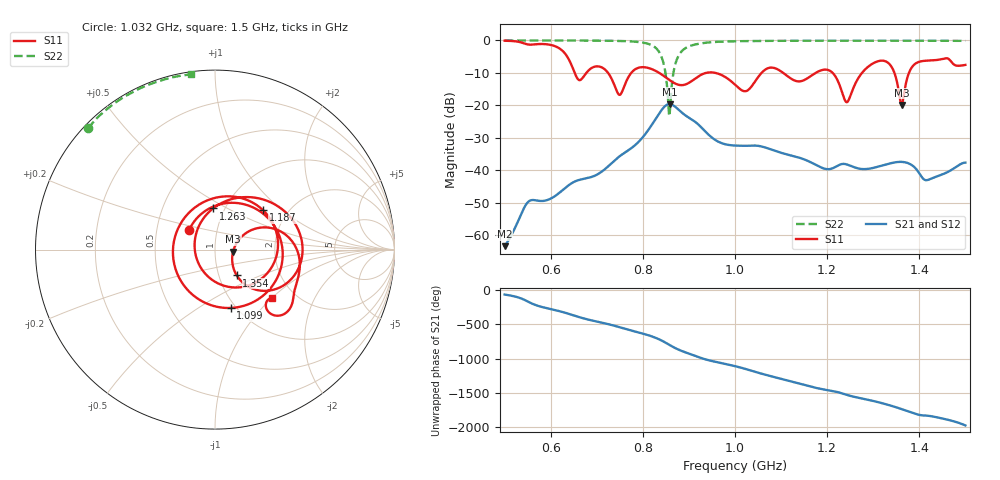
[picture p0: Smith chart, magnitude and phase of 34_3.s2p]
! TOUCHSTONE file generated by CST MICROWAVE STUDIO
! Date and time: Fri Dec 11 14:16:44 2020
! Project name: Scenario_1_Planar_Body_Tissue_Out_of_Line_v2.cst
! Parameters = {dy1=224.9; L_HA=400; Ltissue=700; MT=2.54; Rad_Dielectric=30; Rad_Lower=7.3; Rad_Upper=30; Wtissue=700; a_HA=580; a_WG=246; b_HA=500; b_WG=121; c_HA=0; c_WG=187; d_feed=85; dx1=520; h_feed=15; h_lower=18; h_upper=40; hfat=3; hgap=25; hmuscle=50; hskin=1.5}
! Header version: 2018
! Port assignment regex: !\s*Touchstone port\s*([0-9]+)\s*=\s*(CST MWS port|CST DS port)\s*([0-9]+|Zmin|Zmax)\s*\(\"(.*)\"\)(\s*mode\s*([0-9]+))?.*
! Touchstone port assignment:
! Touchstone port 1 = CST MWS port 1 ("")
! Touchstone port 2 = CST MWS port 2 ("")
# GHz S DB R 50
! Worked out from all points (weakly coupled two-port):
!   1003 points, 500 MHz to 1.5 GHz, reference 50 ohm
!   highest |S21| = -19.65 dB at 858 MHz (marker M1); lowest = -63.5 dB at 500 MHz (marker M2)
!   lowest |S11| = -19.9 dB at 1.362 GHz (marker M3), VSWR 1.23, Z = 61.2 - j1.44 ohm
!   |S11| at or under -10 dB: 835.3 MHz to 937.8 MHz (102.5 MHz wide, 11.6 % of centre); 956.9 MHz to 1.058 GHz (100.9 MHz wide, 10 % of centre); 1.104 GHz to 1.175 GHz (70.82 MHz wide, 6.21 % of centre)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
!   |S22| runs from -23.3 to 0.0 dB; largest |S21 - S12| = 3.4e-06
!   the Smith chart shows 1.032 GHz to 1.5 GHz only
!   S11 on the Smith chart (normalised r, x): 1.032 GHz: 0.73, +0.17; 1.099 GHz: 0.95, -0.69; 1.187 GHz: 1.51, +0.75; 1.263 GHz: 0.88, +0.43; 1.354 GHz: 1.22, -0.36; 1.5 GHz: 1.54, -1.01
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0.5  -0.09 -121.9  -63.47 -67.7  -63.47 -67.7  -0.01 151.2
0.599  -1.36 -175.8  -48.88 82.7  -48.88 82.7  -0.02 144.2
0.667  -11.93 163.1  -42.85 -46.2  -42.85 -46.2  -0.04 138.4
0.743  -15.50 18.5  -36.47 -170.6  -36.47 -170.6  -0.14 128.8
0.789  -8.50 162.7  -31.54 104.3  -31.54 104.3  -0.47 117.3
0.834  -9.89 55.7  -22.83 5.4  -22.84 5.4  -3.28 83.3
0.858  -12.25 -7.3  -19.65 -81.3  -19.65 -81.3  -23.21 -66.2
0.887  -13.77 -100.6  -22.54 -174.7  -22.54 -174.7  -2.96 178.2
0.935  -10.10 85.8  -28.00 71.5  -28.00 71.5  -0.74 152.9
1  -13.64 -93.2  -32.43 -28.6  -32.43 -28.6  -0.26 140.2
1.032  -14.85 142.6  -32.47 -88.0  -32.47 -88.0  -0.20 136.3
1.072  -8.54 2.8  -33.32 -164.4  -33.32 -164.4  -0.14 132.2
1.099  -9.45 -74.9  -34.61 148.7  -34.61 148.7  -0.12 129.8
1.167  -10.75 88.6  -37.78 29.2  -37.78 29.2  -0.10 124.2
1.187  -9.21 39.4  -39.20 -0.6  -39.20 -0.6  -0.09 122.6
1.223  -12.44 -62.2  -38.61 -46.3  -38.61 -46.3  -0.09 119.9
1.263  -12.79 92.8  -39.32 -121.4  -39.32 -121.4  -0.08 116.9
1.334  -7.11 -25.2  -38.03 125.3  -38.03 125.3  -0.09 111.5
1.354  -14.52 -49.9  -37.49 84.1  -37.49 84.1  -0.09 110.0
1.362  -19.89 -6.6  -37.47 66.3  -37.47 66.3  -0.09 109.3
1.394  -6.94 1.8  -39.81 -6.6  -39.81 -6.6  -0.09 106.8
1.5  -7.55 -40.3  -37.70 -170.9  -37.70 -170.9  -0.13 97.9
